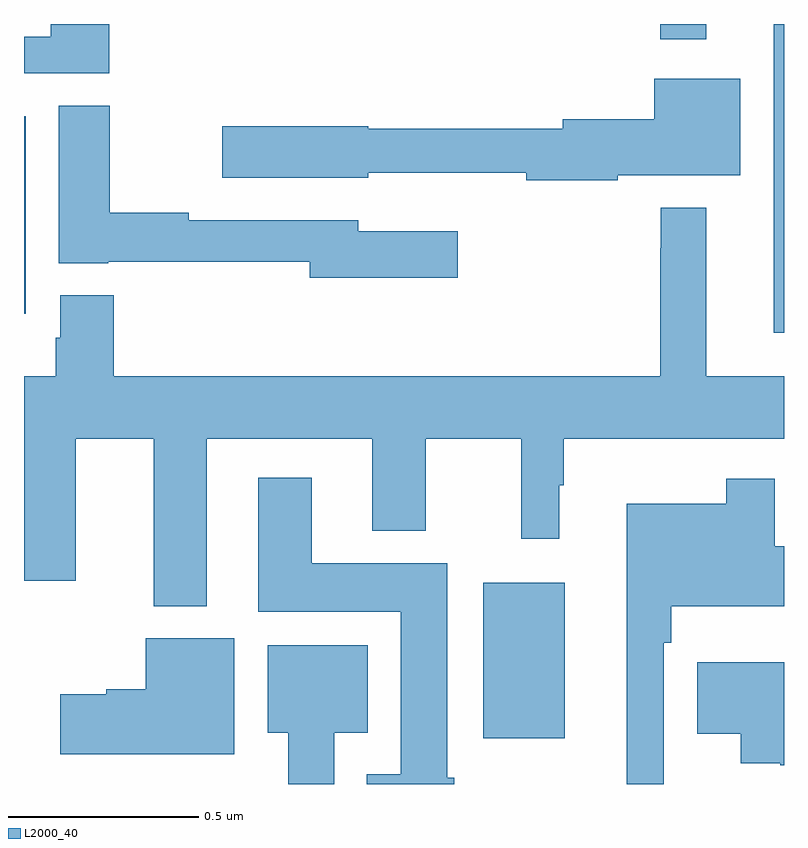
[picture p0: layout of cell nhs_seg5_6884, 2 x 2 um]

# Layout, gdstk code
import gdstk
lib = gdstk.Library(unit=1e-6, precision=1e-09)
def R(c, l, rs):  # rectangles x0, y0, x1, y1
    for r in rs: c.add(gdstk.rectangle(r[:2], r[2:], *l))
def P(c, l, *ps):  # polygons
    for p in ps: c.add(gdstk.Polygon(p, *l))
L2000_40 = (2000, 40)

nhs_seg5_6884 = lib.new_cell('nhs_seg5_6884')
R(nhs_seg5_6884, L2000_40, [(202.208,907.919,202.423,908.329), (202.973,908.987,203,909.799), (201,909.036,201.004,909.556), (202.674,909.759,202.795,909.799)])
P(nhs_seg5_6884, L2000_40, [(201.224,909.799),(201.071,909.799),(201.071,909.765),(201,909.765),(201,909.669),(201.224,909.669)],
  [(202.562,909.401),(202.885,909.401),(202.885,909.655),(202.658,909.655),(202.658,909.549),(202.418,909.549),(202.418,909.524),(201.906,909.524),(201.906,909.53),(201.522,909.53),(201.522,909.395),(201.906,909.395),(201.906,909.407),(202.322,909.407),(202.322,909.388),(202.562,909.388)],
  [(202.141,909.253),(201.88,909.253),(201.88,909.282),(201.434,909.282),(201.434,909.302),(201.226,909.302),(201.226,909.584),(201.092,909.584),(201.092,909.17),(201.222,909.17),(201.222,909.174),(201.752,909.174),(201.752,909.131),(202.141,909.131)],
  [(201.236,909.085),(201.095,909.085),(201.095,908.973),(201.083,908.973),(201.083,908.872),(201,908.872),(201,908.334),(201.136,908.334),(201.136,908.708),(201.341,908.708),(201.341,908.267),(201.481,908.267),(201.481,908.708),(201.917,908.708),(201.917,908.465),(202.057,908.465),(202.057,908.708),(202.309,908.708),(202.309,908.445),(202.408,908.445),(202.408,908.585),(202.42,908.585),(202.42,908.708),(203,908.708),(203,908.872),(202.795,908.872),(202.795,909.316),(202.675,909.316),(202.675,909.209),(202.674,909.209),(202.674,908.872),(201.236,908.872)],
  [(202.132,907.815),(202.114,907.815),(202.114,908.38),(201.757,908.38),(201.757,908.605),(201.617,908.605),(201.617,908.252),(201.992,908.252),(201.992,907.825),(201.902,907.825),(201.902,907.799),(202.132,907.799)],
  [(202.683,908.171),(202.703,908.171),(202.703,908.267),(203,908.267),(203,908.425),(202.976,908.425),(202.976,908.602),(202.848,908.602),(202.848,908.536),(202.586,908.536),(202.586,907.799),(202.683,907.799)],
  [(201.553,908.182),(201.32,908.182),(201.32,908.048),(201.216,908.048),(201.216,908.035),(201.096,908.035),(201.096,907.877),(201.553,907.877)],
  [(201.817,907.934),(201.904,907.934),(201.904,908.164),(201.641,908.164),(201.641,907.934),(201.695,907.934),(201.695,907.799),(201.817,907.799)],
  [(203,908.119),(202.772,908.119),(202.772,907.931),(202.886,907.931),(202.886,907.853),(202.99,907.853),(202.99,907.848),(203,907.848)])

lib.write_gds('nhs_seg5_6884.gds')
